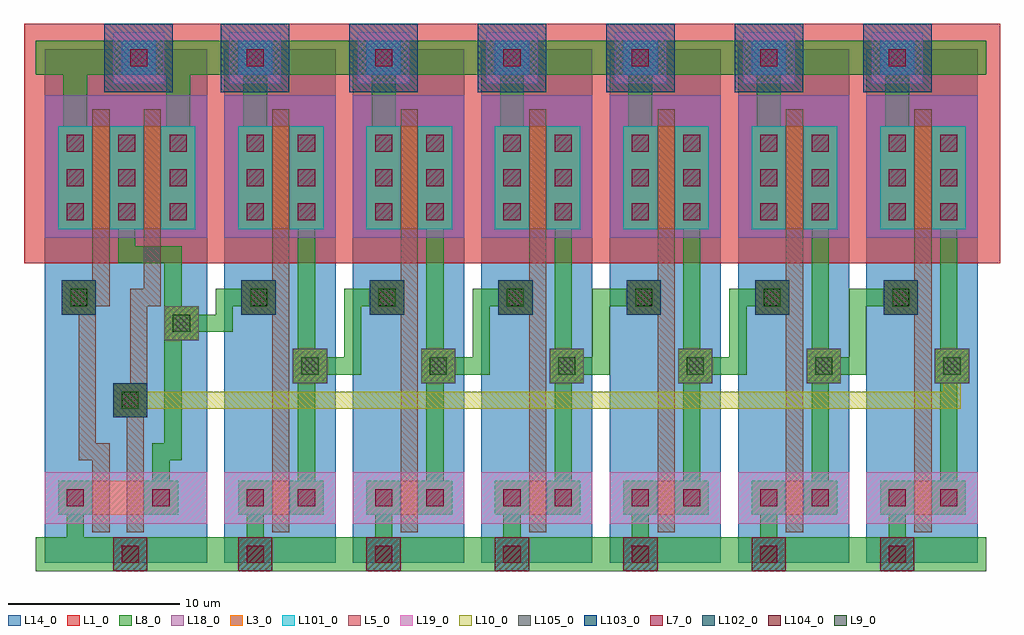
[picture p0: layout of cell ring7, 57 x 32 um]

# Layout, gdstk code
import gdstk
lib = gdstk.Library(unit=1e-6, precision=1e-09)
def R(c, l, rs):  # rectangles x0, y0, x1, y1
    for r in rs: c.add(gdstk.rectangle(r[:2], r[2:], *l))
L1_0 = (1, 0)
L3_0 = (3, 0)
L5_0 = (5, 0)
L7_0 = (7, 0)
L8_0 = (8, 0)
L9_0 = (9, 0)
L10_0 = (10, 0)
L14_0 = (14, 0)
L18_0 = (18, 0)
L19_0 = (19, 0)
L101_0 = (101, 0)
L102_0 = (102, 0)
L103_0 = (103, 0)
L104_0 = (104, 0)
L105_0 = (105, 0)

via = lib.new_cell('Via')
R(via, L8_0, [(-1,-1,1,1)])
R(via, L9_0, [(-0.5,-0.5,0.5,0.5)])
R(via, L10_0, [(-1,-1,1,1)])
R(via, L105_0, [(-1,-1,1,1)])
via.add(gdstk.Label('via', (0,0), layer=13, texttype=0))

dcont = lib.new_cell('dcont')
R(dcont, L3_0, [(-0.5,-0.5,0.5,0.5)])
R(dcont, L7_0, [(-0.5,-0.5,0.5,0.5)])
R(dcont, L8_0, [(-1,-1,1,1)])
R(dcont, L101_0, [(-1,-1,1,1)])
dcont.add(gdstk.Label('dcont', (0,0), layer=13, texttype=0))

nsubcont = lib.new_cell('nsubcont')
R(nsubcont, L1_0, [(-2,-2,2,2)])
R(nsubcont, L19_0, [(-1.5,-1.5,1.5,1.5)])
R(nsubcont, L103_0, [(-2,-2,2,2)])
nsubcont.add(gdstk.Reference(dcont, (0,0)))
nsubcont.add(gdstk.Label('NScont', (0,0), layer=13, texttype=0))

pcont = lib.new_cell('pcont')
R(pcont, L5_0, [(-1,-1,1,1)])
R(pcont, L7_0, [(-0.5,-0.5,0.5,0.5)])
R(pcont, L8_0, [(-1,-1,1,1)])
R(pcont, L102_0, [(-1,-1,1,1)])
pcont.add(gdstk.Label('pcont', (0,0), layer=13, texttype=0))

psubcont = lib.new_cell('psubcont')
R(psubcont, L104_0, [(-1,-1,1,1)])
psubcont.add(gdstk.Reference(dcont, (0,0)))
psubcont.add(gdstk.Label('PScon', (0,0), layer=13, texttype=0))

inv1 = lib.new_cell('inv1')
R(inv1, L1_0, [(-1.2,17.5,7.8,31.5)])
R(inv1, L3_0, [(0.8,2.8,5.8,4.8), (0.8,19.5,5.8,25.5)])
R(inv1, L5_0, [(1.3,14.8,3.8,16.2)])
R(inv1, L8_0, [(-0.5,-0.5,7,1.5), (4,10.5,6,12.5), (1,14.5,3,16.5), (-0.5,28.5,7,30.5)])
R(inv1, L10_0, [(4,10.5,6,12.5), (1,14.5,3,16.5)])
R(inv1, L14_0, [(0,0,6.5,30)])
R(inv1, L18_0, [(0,19,6.5,27.3)])
R(inv1, L19_0, [(0,2.3,6.5,5.3)])
R(inv1, L105_0, [(4,10.5,6,12.5), (1,14.5,3,16.5)])
inv1.add(gdstk.FlexPath([(3.3,26),(3.3,2.3)], 1, ends="extended", simple_path=True, layer=5, datatype=0))  # L5_0
inv1.add(gdstk.FlexPath([(4.8,20.5),(4.8,3.8)], 1, ends="extended", simple_path=True, layer=8, datatype=0))  # L8_0
inv1.add(gdstk.FlexPath([(4.8,21.3),(4.8,24.5)], 1.4, ends="extended", simple_path=True, layer=8, datatype=0))  # L8_0
inv1.add(gdstk.FlexPath([(1.8,1),(1.8,3.8)], 1, ends="extended", simple_path=True, layer=8, datatype=0))  # L8_0
inv1.add(gdstk.FlexPath([(1.8,21.3),(1.8,28.5)], 1.4, ends="extended", simple_path=True, layer=8, datatype=0))  # L8_0
inv1.add(gdstk.Reference(via, (5,11.5)))
inv1.add(gdstk.Reference(via, (2,15.5)))
inv1.add(gdstk.Reference(dcont, (1.8,22.5)))
inv1.add(gdstk.Reference(dcont, (1.8,20.5)))
inv1.add(gdstk.Reference(dcont, (1.8,3.8)))
inv1.add(gdstk.Reference(dcont, (1.8,24.5)))
inv1.add(gdstk.Reference(dcont, (4.8,22.5)))
inv1.add(gdstk.Reference(dcont, (4.8,20.5)))
inv1.add(gdstk.Reference(dcont, (4.8,24.5)))
inv1.add(gdstk.Reference(dcont, (4.8,3.8)))
inv1.add(gdstk.Reference(nsubcont, (1.8,29.5)))
inv1.add(gdstk.Reference(pcont, (2,15.5)))
inv1.add(gdstk.Reference(psubcont, (1.8,0.5)))
inv1.add(gdstk.Label('A', (2,16.4), layer=13, texttype=0))
inv1.add(gdstk.Label('VDD', (0.3,28.5), layer=13, texttype=0))
inv1.add(gdstk.Label('VSS', (0.3,1), layer=13, texttype=0))
inv1.add(gdstk.Label('YB', (4.4,12.4), layer=13, texttype=0))
inv1.add(gdstk.Label('via', (5,11.5), layer=13, texttype=0))
inv1.add(gdstk.Label('via', (2,15.5), layer=13, texttype=0))

na21 = lib.new_cell('na21')
R(na21, L1_0, [(-1.2,17.5,10.8,31.5)])
R(na21, L3_0, [(0.8,2.8,7.8,4.8), (0.8,19.5,8.8,25.5)])
R(na21, L5_0, [(1.3,15,3.8,16.2)])
R(na21, L8_0, [(-0.5,-0.5,10,1.5), (4,8.5,6,10.5), (7,13,9,15), (1,14.5,3,16.5), (-0.5,28.5,10,30.5)])
R(na21, L10_0, [(4,8.5,6,10.5), (7,13,9,15), (1,14.5,3,16.5)])
R(na21, L14_0, [(0,0,9.5,30)])
R(na21, L18_0, [(0,19,9.5,27.3)])
R(na21, L19_0, [(0,2.3,9.5,5.3)])
R(na21, L105_0, [(4,8.5,6,10.5), (7,13,9,15), (1,14.5,3,16.5)])
na21.add(gdstk.FlexPath([(6.3,26),(6.3,15.5),(5.5,15.5),(5.5,9.5),(5.3,9.5),(5.3,2.3)], 1, ends="extended", simple_path=True, layer=5, datatype=0))  # L5_0
na21.add(gdstk.FlexPath([(3.3,26),(3.3,15.5),(2.5,15.5),(2.5,6.5),(3.3,6.5),(3.3,2.3)], 1, ends="extended", simple_path=True, layer=5, datatype=0))  # L5_0
na21.add(gdstk.FlexPath([(1.8,21.3),(1.8,28.5)], 1.4, ends="extended", simple_path=True, layer=8, datatype=0))  # L8_0
na21.add(gdstk.FlexPath([(1.8,1),(1.8,3.8)], 1, ends="extended", simple_path=True, layer=8, datatype=0))  # L8_0
na21.add(gdstk.FlexPath([(7.8,21.3),(7.8,28.5)], 1.4, ends="extended", simple_path=True, layer=8, datatype=0))  # L8_0
na21.add(gdstk.FlexPath([(4.8,21.3),(4.8,24.5)], 1.4, ends="extended", simple_path=True, layer=8, datatype=0))  # L8_0
na21.add(gdstk.FlexPath([(4.8,20.5),(4.8,18),(7.5,18),(7.5,6.5),(6.8,6.5),(6.8,3.8)], 1, ends="extended", simple_path=True, layer=8, datatype=0))  # L8_0
na21.add(gdstk.Reference(dcont, (1.8,22.5)))
na21.add(gdstk.Reference(dcont, (1.8,20.5)))
na21.add(gdstk.Reference(dcont, (1.8,3.8)))
na21.add(gdstk.Reference(dcont, (1.8,24.5)))
na21.add(gdstk.Reference(dcont, (4.8,22.5)))
na21.add(gdstk.Reference(dcont, (4.8,20.5)))
na21.add(gdstk.Reference(dcont, (4.8,24.5)))
na21.add(gdstk.Reference(dcont, (6.8,3.8)))
na21.add(gdstk.Reference(dcont, (7.8,24.5)))
na21.add(gdstk.Reference(dcont, (7.8,22.5)))
na21.add(gdstk.Reference(dcont, (7.8,20.5)))
na21.add(gdstk.Reference(nsubcont, (5.5,29.5)))
na21.add(gdstk.Reference(pcont, (5,9.5)))
na21.add(gdstk.Reference(pcont, (2,15.5)))
na21.add(gdstk.Reference(psubcont, (5,0.5)))
na21.add(gdstk.Reference(via, (5,9.5)))
na21.add(gdstk.Reference(via, (8,14)))
na21.add(gdstk.Reference(via, (2,15.5)))
na21.add(gdstk.Label('via', (5,9.5), layer=13, texttype=0))
na21.add(gdstk.Label('via', (2,15.5), layer=13, texttype=0))
na21.add(gdstk.Label('via', (8,14), layer=13, texttype=0))
na21.add(gdstk.Label('YB', (7.1,14.8), layer=13, texttype=0))
na21.add(gdstk.Label('VSS', (0.3,1), layer=13, texttype=0))
na21.add(gdstk.Label('VDD', (0.3,28.5), layer=13, texttype=0))
na21.add(gdstk.Label('A', (2,16.4), layer=13, texttype=0))
na21.add(gdstk.Label('B', (4.3,10.4), layer=13, texttype=0))

ring7 = lib.new_cell('ring7')
ring7.add(gdstk.FlexPath([(5,32),(7.5,32),(7.5,36),(9.5,36)], 1, ends="flush", simple_path=True, layer=8, datatype=0))  # L8_0
ring7.add(gdstk.FlexPath([(12.5,32),(15,32),(15,36),(17,36)], 1, ends="flush", simple_path=True, layer=8, datatype=0))  # L8_0
ring7.add(gdstk.FlexPath([(19.5,32),(22,32),(22,36),(24,36)], 1, ends="flush", simple_path=True, layer=8, datatype=0))  # L8_0
ring7.add(gdstk.FlexPath([(27.5,32),(30,32),(30,36),(32,36)], 1, ends="flush", simple_path=True, layer=8, datatype=0))  # L8_0
ring7.add(gdstk.FlexPath([(34.5,32),(37,32),(37,36),(39,36)], 1, ends="flush", simple_path=True, layer=8, datatype=0))  # L8_0
ring7.add(gdstk.FlexPath([(-2,34.5),(0,34.5),(0,36),(2,36)], 1, ends="flush", simple_path=True, layer=8, datatype=0))  # L8_0
ring7.add(gdstk.FlexPath([(42.5,32),(42.5,30),(-5.5,30),(-5.5,30)], 1, ends="flush", simple_path=True, layer=10, datatype=0))  # L10_0
ring7.add(gdstk.Reference(inv1, (0,20.5)))
ring7.add(gdstk.Reference(inv1, (7.5,20.5)))
ring7.add(gdstk.Reference(inv1, (15,20.5)))
ring7.add(gdstk.Reference(inv1, (22.5,20.5)))
ring7.add(gdstk.Reference(inv1, (37.5,20.5)))
ring7.add(gdstk.Reference(na21, (-10.5,20.5)))
ring7.add(gdstk.Reference(inv1, (30,20.5)))

lib.write_gds('ring7.gds')
